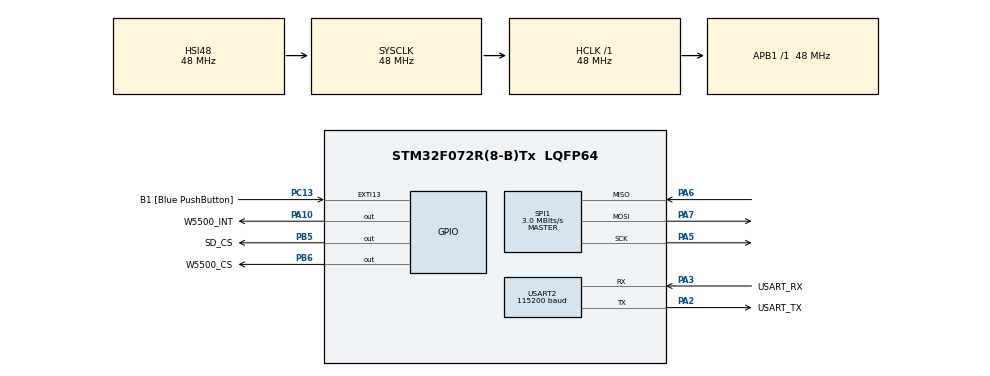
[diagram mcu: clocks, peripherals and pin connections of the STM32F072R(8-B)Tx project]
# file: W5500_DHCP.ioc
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Dma.Request0=SPI1_RX
Dma.Request1=SPI1_TX
Dma.SPI1_RX.0.Direction=DMA_PERIPH_TO_MEMORY
Dma.SPI1_RX.0.Instance=DMA1_Channel2
Dma.SPI1_RX.0.MemDataAlignment=DMA_MDATAALIGN_BYTE
Dma.SPI1_RX.0.MemInc=DMA_MINC_ENABLE
Dma.SPI1_RX.0.Mode=DMA_NORMAL
Dma.SPI1_RX.0.PeriphDataAlignment=DMA_PDATAALIGN_BYTE
Dma.SPI1_RX.0.PeriphInc=DMA_PINC_DISABLE
Dma.SPI1_RX.0.Priority=DMA_PRIORITY_MEDIUM
Dma.SPI1_TX.1.Direction=DMA_MEMORY_TO_PERIPH
Dma.SPI1_TX.1.Instance=DMA1_Channel3
Dma.SPI1_TX.1.MemDataAlignment=DMA_MDATAALIGN_BYTE
Dma.SPI1_TX.1.MemInc=DMA_MINC_ENABLE
Dma.SPI1_TX.1.Mode=DMA_NORMAL
Dma.SPI1_TX.1.PeriphDataAlignment=DMA_PDATAALIGN_BYTE
Dma.SPI1_TX.1.PeriphInc=DMA_PINC_DISABLE
Dma.SPI1_TX.1.Priority=DMA_PRIORITY_HIGH
Mcu.Family=STM32F0
Mcu.Name=STM32F072R(8-B)Tx
Mcu.Package=LQFP64
NVIC.DMA1_Channel2_3_IRQn=true\:0\:0\:false\:false\:true\:false\:true
NVIC.SPI1_IRQn=true\:0\:0\:false\:false\:true\:true\:true
PA10.GPIO_Label=W5500_INT
PA10.Signal=GPIO_Output
PA13.GPIO_Label=TMS
PA13.Mode=Serial_Wire
PA13.Signal=SYS_SWDIO
PA14.GPIO_Label=TCK
PA14.Mode=Serial_Wire
PA14.Signal=SYS_SWCLK
PA2.GPIO_Label=USART_TX
PA2.GPIO_Mode=GPIO_MODE_AF_PP
PA2.GPIO_PuPd=GPIO_NOPULL
PA2.GPIO_Speed=GPIO_SPEED_FREQ_LOW
PA2.Mode=Asynchronous
PA2.Signal=USART2_TX
PA3.GPIO_Label=USART_RX
PA3.GPIO_Mode=GPIO_MODE_AF_PP
PA3.GPIO_PuPd=GPIO_NOPULL
PA3.GPIO_Speed=GPIO_SPEED_FREQ_LOW
PA3.Mode=Asynchronous
PA3.Signal=USART2_RX
PA5.Mode=Full_Duplex_Master
PA5.Signal=SPI1_SCK
PA6.Mode=Full_Duplex_Master
PA6.Signal=SPI1_MISO
PA7.Mode=Full_Duplex_Master
PA7.Signal=SPI1_MOSI
PB5.GPIO_Label=SD_CS
PB5.Signal=GPIO_Output
PB6.GPIO_Label=W5500_CS
PB6.Signal=GPIO_Output
PC13.GPIO_Label=B1 [Blue PushButton]
PC13.GPIO_ModeDefaultEXTI=GPIO_MODE_IT_FALLING
PC13.Signal=GPXTI13
PC14-OSC32_IN.Mode=LSE-External-Oscillator
PC14-OSC32_IN.Signal=RCC_OSC32_IN
PC15-OSC32_OUT.Mode=LSE-External-Oscillator
PC15-OSC32_OUT.Signal=RCC_OSC32_OUT
PF0-OSC_IN.Mode=HSE-External-Oscillator
PF0-OSC_IN.Signal=RCC_OSC_IN
PF1-OSC_OUT.Mode=HSE-External-Oscillator
PF1-OSC_OUT.Signal=RCC_OSC_OUT
ProjectManager.HeapSize=0x200
ProjectManager.StackSize=0x400
ProjectManager.TargetToolchain=Makefile
RCC.AHBFreq_Value=48000000
RCC.APB1Freq_Value=48000000
RCC.APB1TimFreq_Value=48000000
RCC.FLatency-AdvancedSettings=FLASH_LATENCY_1
RCC.HCLKFreq_Value=48000000
RCC.PLLDivider=RCC_PREDIV_DIV2
RCC.PLLMUL=RCC_PLL_MUL12
RCC.PREFETCH_ENABLE-AdvancedSettings=1
RCC.SYSCLKFreq_VALUE=48000000
RCC.SYSCLKSource=RCC_SYSCLKSOURCE_HSI48
SPI1.BaudRatePrescaler=SPI_BAUDRATEPRESCALER_16
SPI1.CalculateBaudRate=3.0 MBits/s
SPI1.DataSize=SPI_DATASIZE_8BIT
SPI1.Direction=SPI_DIRECTION_2LINES
SPI1.Mode=SPI_MODE_MASTER
SPI1.VirtualType=VM_MASTER
USART2.BaudRate=115200
USART2.VirtualMode=VM_ASYNC
USART2.VirtualMode-Asynchronous=VM_ASYNC
board=NUCLEO-F072RB

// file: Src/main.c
/* USER CODE BEGIN Header */
/**
  ******************************************************************************
  * @file           : main.c
  * @brief          : Main program body
  ******************************************************************************
  * @attention
  *
  * Copyright (c) 2022 STMicroelectronics.
  * All rights reserved.
  *
  * This software is licensed under terms that can be found in the LICENSE file
  * in the root directory of this software component.
  * If no LICENSE file comes with this software, it is provided AS-IS.
  *
  ******************************************************************************
  */
/* USER CODE END Header */
#include "main.h"
#include "dma.h"
#include "spi.h"
#include "usart.h"
#include "gpio.h"

/* USER CODE BEGIN Includes */
#include <stdio.h>
#include "ethernet.h"
#include "sntp.h"
/* USER CODE END Includes */

void SystemClock_Config(void);

int main(void)
{
  /* USER CODE BEGIN 1 */
  uint8_t memsize[2][8] = {{2,2,2,2,2,2,2,2},{2,2,2,2,2,2,2,2}};
  /* USER CODE END 1 */

  /* MCU Configuration--------------------------------------------------------*/

  /* Reset of all peripherals, Initializes the Flash interface and the Systick. */
  HAL_Init();

  /* Configure the system clock */
  SystemClock_Config();

  /* Initialize all configured peripherals */
  MX_GPIO_Init();
  MX_USART2_UART_Init();
  MX_DMA_Init();
  MX_SPI1_Init();
  /* USER CODE BEGIN 2 */
  printf("Started....\r\n");
  //uint8_t data[] = {0, 9, 0, 6, 5, 4, 3, 2, 1};
  //uint8_t pbuf[6];
  ////HAL_SPI_Transmit(&hspi1, data, 3, 0xFFFF);
  //HAL_SPI_Transmit_DMA(&hspi1, data, 3);
  ////HAL_SPI_Receive(&hspi1, pbuf, 6, 0xFFFF);
  //HAL_SPI_Receive_DMA(&hspi1, pbuf, 6);
  ////HAL_SPI_TransmitReceive(&hspi1, data, pbuf, 9, 0xffff);
  ////HAL_SPI_TransmitReceive_DMA(&hspi1, data, pbuf, 9);
  //while(HAL_SPI_GetState(&hspi1) != HAL_SPI_STATE_READY){};
//
  //printf("%2d %2d %2d %2d %2d %2d \r\n", pbuf[0], pbuf[1], pbuf[2], pbuf[3], pbuf[4], pbuf[5]);
  //while(1);
  ethernet_init(&hspi1, W5500_CS_GPIO_Port, W5500_CS_Pin, (void*)memsize);
  ethernet_dhcpLease();
  printf("ready\r\n");

  uint8_t SNTP_sock = 1;
  uint8_t SNTP_server[] = {162, 159 , 200, 1};
  uint8_t buf[200];
  datetime time;
  SNTP_init(SNTP_sock, SNTP_server, 44, buf);
  /* USER CODE END 2 */

  /* Infinite loop */
  /* USER CODE BEGIN WHILE */
  while (1)
  {
    SNTP_run(&time);
    printf("Time: %02d/%02d/%04d :: %02d:%02d:%02d\r\n", time.dd, time.mo, time.yy, time.hh, time.mm, time.ss);
    HAL_Delay(10000);
    /* USER CODE END WHILE */

  }
}

void SystemClock_Config(void)
{
  RCC_OscInitTypeDef RCC_OscInitStruct = {0};
  RCC_ClkInitTypeDef RCC_ClkInitStruct = {0};
  RCC_PeriphCLKInitTypeDef PeriphClkInit = {0};

  /** Initializes the RCC Oscillators according to the specified parameters
  * in the RCC_OscInitTypeDef structure.
  */
  RCC_OscInitStruct.OscillatorType = RCC_OSCILLATORTYPE_HSI48;
  RCC_OscInitStruct.HSI48State = RCC_HSI48_ON;
  RCC_OscInitStruct.PLL.PLLState = RCC_PLL_NONE;
  if (HAL_RCC_OscConfig(&RCC_OscInitStruct) != HAL_OK)
  {
    Error_Handler();
  }
  /** Initializes the CPU, AHB and APB buses clocks
  */
  RCC_ClkInitStruct.ClockType = RCC_CLOCKTYPE_HCLK|RCC_CLOCKTYPE_SYSCLK
                              |RCC_CLOCKTYPE_PCLK1;
  RCC_ClkInitStruct.SYSCLKSource = RCC_SYSCLKSOURCE_HSI48;
  RCC_ClkInitStruct.AHBCLKDivider = RCC_SYSCLK_DIV1;
  RCC_ClkInitStruct.APB1CLKDivider = RCC_HCLK_DIV1;

  if (HAL_RCC_ClockConfig(&RCC_ClkInitStruct, FLASH_LATENCY_1) != HAL_OK)
  {
    Error_Handler();
  }
  PeriphClkInit.PeriphClockSelection = RCC_PERIPHCLK_USART2;
  PeriphClkInit.Usart2ClockSelection = RCC_USART2CLKSOURCE_PCLK1;
  if (HAL_RCCEx_PeriphCLKConfig(&PeriphClkInit) != HAL_OK)
  {
    Error_Handler();
  }
}

void Error_Handler(void)
{
  __disable_irq();
  while (1)
  {
  }
}
